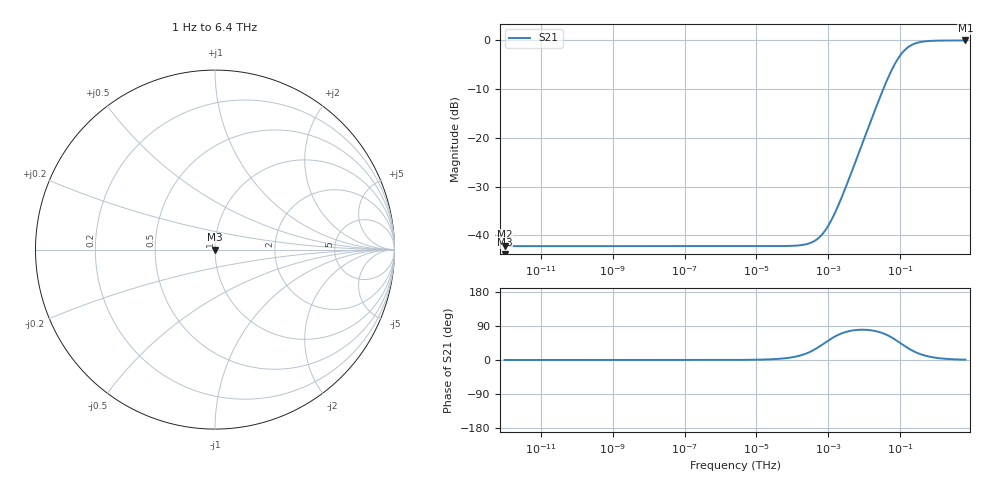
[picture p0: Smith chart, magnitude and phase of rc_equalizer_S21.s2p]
! RC peaking equalizer  S21(f) = (1 + jwR_eqC_eq)/(eta + jwR_eqC_eq)
! corrected H_eq per EYE_TOOL_SPEC sec 3.4  (eta=128.998, R_eq=7781.86 ohm, C_eq=2.63827e-14 F)
# Hz S RI R 50
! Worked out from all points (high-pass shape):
!   801 points, 1 Hz to 6.4 THz, reference 50 ohm
!   highest |S21| = 0.00 dB at 6.4 THz (marker M1); lowest = -42.2 dB at 1 Hz (marker M2)
!   |S21| within 3 dB of the highest: 100.2 GHz to end of sweep
!   lowest |S11| = - dB at 1 Hz (marker M3), VSWR 1.00, Z = 50 + j0 ohm
!   |S11| at or under -10 dB: start of sweep to end of sweep
!   S12 and S22 are empty: the file has one direction only
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1  0 0  0.00775 9.92e-12  0 0  0 0
1000  0 0  0.00775 9.92e-09  0 0  0 0
18897.26  0 0  0.00775 1.88e-07  0 0  0 0
2581740  0 0  0.00775 2.56e-05  0 0  0 0
1.076359e8  0 0  0.00775 0.00107  0 0  0 0
3.527167e8  0 0  0.00776 0.0035  0 0  0 0
7.354035e8  0 0  0.00781 0.0073  0 0  0 0
1.06188e9  0 0  0.00786 0.0105  0 0  0 0
1.533294e9  0 0  0.00799 0.0152  0 0  0 0
4.884511e9  0 0  0.0101 0.0484  0 0  0 0
1.140284e10  0 0  0.0205 0.1117  0 0  0 0
2.661982e10  0 0  0.0734 0.2467  0 0  0 0
3.632527e10  0 0  0.1234 0.3184  0 0  0 0
4.818807e10  0 0  0.1947 0.388  0 0  0 0
7.573708e10  0 0  0.3694 0.4776  0 0  0 0
1.124946e11  0 0  0.562 0.4927  0 0  0 0
1.924508e11  0 0  0.7891 0.406  0 0  0 0
3.200626e11  0 0  0.9118 0.2824  0 0  0 0
5.793878e11  0 0  0.9713 0.1663  0 0  0 0
1.078889e12  0 0  0.9915 0.0912  0 0  0 0
2.313927e12  0 0  0.9982 0.0428  0 0  0 0
6.4e12  0 0  0.9998 0.0155  0 0  0 0
